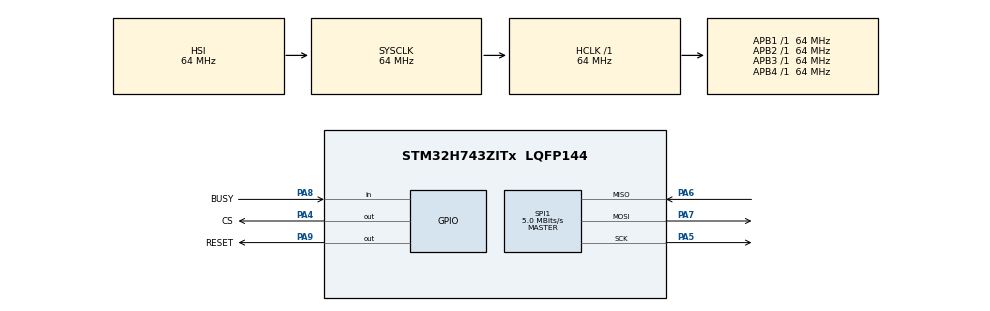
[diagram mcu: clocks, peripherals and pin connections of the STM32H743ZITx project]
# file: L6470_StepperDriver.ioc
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Dma.Request0=SPI1_TX
Dma.Request1=SPI1_RX
Dma.SPI1_RX.1.Direction=DMA_PERIPH_TO_MEMORY
Dma.SPI1_RX.1.EventEnable=DISABLE
Dma.SPI1_RX.1.FIFOMode=DMA_FIFOMODE_DISABLE
Dma.SPI1_RX.1.Instance=DMA1_Stream0
Dma.SPI1_RX.1.MemDataAlignment=DMA_MDATAALIGN_BYTE
Dma.SPI1_RX.1.MemInc=DMA_MINC_ENABLE
Dma.SPI1_RX.1.Mode=DMA_NORMAL
Dma.SPI1_RX.1.PeriphDataAlignment=DMA_PDATAALIGN_BYTE
Dma.SPI1_RX.1.PeriphInc=DMA_PINC_DISABLE
Dma.SPI1_RX.1.Polarity=HAL_DMAMUX_REQ_GEN_RISING
Dma.SPI1_RX.1.Priority=DMA_PRIORITY_HIGH
Dma.SPI1_RX.1.RequestNumber=1
Dma.SPI1_RX.1.SignalID=NONE
Dma.SPI1_RX.1.SyncEnable=DISABLE
Dma.SPI1_RX.1.SyncPolarity=HAL_DMAMUX_SYNC_NO_EVENT
Dma.SPI1_RX.1.SyncRequestNumber=1
Dma.SPI1_RX.1.SyncSignalID=NONE
Dma.SPI1_TX.0.Direction=DMA_MEMORY_TO_PERIPH
Dma.SPI1_TX.0.EventEnable=DISABLE
Dma.SPI1_TX.0.FIFOMode=DMA_FIFOMODE_DISABLE
Dma.SPI1_TX.0.Instance=DMA1_Stream1
Dma.SPI1_TX.0.MemDataAlignment=DMA_MDATAALIGN_BYTE
Dma.SPI1_TX.0.MemInc=DMA_MINC_ENABLE
Dma.SPI1_TX.0.Mode=DMA_NORMAL
Dma.SPI1_TX.0.PeriphDataAlignment=DMA_PDATAALIGN_BYTE
Dma.SPI1_TX.0.PeriphInc=DMA_PINC_DISABLE
Dma.SPI1_TX.0.Polarity=HAL_DMAMUX_REQ_GEN_RISING
Dma.SPI1_TX.0.Priority=DMA_PRIORITY_LOW
Dma.SPI1_TX.0.RequestNumber=1
Dma.SPI1_TX.0.SignalID=NONE
Dma.SPI1_TX.0.SyncEnable=DISABLE
Dma.SPI1_TX.0.SyncPolarity=HAL_DMAMUX_SYNC_NO_EVENT
Dma.SPI1_TX.0.SyncRequestNumber=1
Dma.SPI1_TX.0.SyncSignalID=NONE
Mcu.Family=STM32H7
Mcu.Name=STM32H743ZITx
Mcu.Package=LQFP144
NVIC.DMA1_Stream0_IRQn=true\:0\:0\:false\:false\:true\:false\:true\:true
NVIC.DMA1_Stream1_IRQn=true\:0\:0\:true\:false\:true\:false\:true\:true
NVIC.PriorityGroup=NVIC_PRIORITYGROUP_4
NVIC.SPI1_IRQn=true\:0\:0\:false\:false\:true\:false\:true\:true
PA4.GPIO_Label=CS
PA4.Signal=GPIO_Output
PA5.Mode=Full_Duplex_Master
PA5.Signal=SPI1_SCK
PA6.Mode=Full_Duplex_Master
PA6.Signal=SPI1_MISO
PA7.Mode=Full_Duplex_Master
PA7.Signal=SPI1_MOSI
PA8.GPIO_Label=BUSY
PA8.Signal=GPIO_Input
PA9.GPIO_Label=RESET
PA9.GPIO_ModeDefaultOutputPP=GPIO_MODE_OUTPUT_OD
PA9.GPIO_PuPd=GPIO_NOPULL
PA9.Signal=GPIO_Output
ProjectManager.HeapSize=0x200
ProjectManager.StackSize=0x400
ProjectManager.TargetToolchain=STM32CubeIDE
RCC.ADCFreq_Value=129000000
RCC.APB1Freq_Value=64000000
RCC.APB2Freq_Value=64000000
RCC.APB3Freq_Value=64000000
RCC.APB4Freq_Value=64000000
RCC.CortexFreq_Value=64000000
RCC.DIVM1=4
RCC.DIVN1=10
RCC.HCLKFreq_Value=64000000
RCC.PLLFRACN=0
RCC.SYSCLKFreq_VALUE=64000000
RCC.USBFreq_Value=80000000
SPI1.BaudRatePrescaler=SPI_BAUDRATEPRESCALER_16
SPI1.CalculateBaudRate=5.0 MBits/s
SPI1.DataSize=SPI_DATASIZE_8BIT
SPI1.Direction=SPI_DIRECTION_2LINES
SPI1.Mode=SPI_MODE_MASTER
SPI1.VirtualType=VM_MASTER
VP_MEMORYMAP_VS_MEMORYMAP.Mode=CurAppReg
board=custom

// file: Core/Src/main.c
/* USER CODE BEGIN Header */
/**
  ******************************************************************************
  * @file           : main.c
  * @brief          : Main program body
  ******************************************************************************
  * @attention
  *
  * Copyright (c) 2025 STMicroelectronics.
  * All rights reserved.
  *
  * This software is licensed under terms that can be found in the LICENSE file
  * in the root directory of this software component.
  * If no LICENSE file comes with this software, it is provided AS-IS.
  *
  ******************************************************************************
  */
/* USER CODE END Header */
#include "main.h"

/* USER CODE BEGIN Includes */
#include <stdlib.h>
#include "l6470_driver.h"
/* USER CODE END Includes */

SPI_HandleTypeDef hspi1;
DMA_HandleTypeDef hdma_spi1_tx;
DMA_HandleTypeDef hdma_spi1_rx;

/* USER CODE BEGIN PV */
L6470_Handle_t hstepper;
L6470_Config_t stepper_config;
/* USER CODE END PV */

void SystemClock_Config(void);
static void MX_GPIO_Init(void);
static void MX_DMA_Init(void);
static void MX_SPI1_Init(void);

/* USER CODE BEGIN 0 */
L6470_Status_t L6470_PreciseMove(L6470_Handle_t *hmotor, uint32_t target_position, uint32_t timeout_ms, uint32_t tolerance, bool with_DMA);
/* USER CODE END 0 */

int main(void)
{

  /* MCU Configuration--------------------------------------------------------*/

  /* Reset of all peripherals, Initializes the Flash interface and the Systick. */
  HAL_Init();

  /* Configure the system clock */
  SystemClock_Config();

  /* Initialize all configured peripherals */
  MX_GPIO_Init();
  MX_DMA_Init();
  MX_SPI1_Init();
  /* USER CODE BEGIN 2 */

  // Configuration of L6470 driver
  stepper_config.hspi = &hspi1;
  stepper_config.cs_port = CS_GPIO_Port;
  stepper_config.cs_pin = CS_Pin;
  stepper_config.reset_port = RESET_GPIO_Port;
  stepper_config.reset_pin = RESET_Pin;
  stepper_config.busy_port = BUSY_GPIO_Port;
  stepper_config.busy_pin = BUSY_Pin;

  /*********************************************
   *     		CONFIGURATION PARAMETERS
   *********************************************/
  uint32_t t_position = 1600;
  uint32_t timeout = 1500;
  uint32_t tolerance = 5;
  L6470_Status_t status_move;
  bool with_DMA = false;
  uint32_t value_DMA = 0;

  // Initialization function for the driver
  if (L6470_Init(&hstepper, &stepper_config, with_DMA) != L6470_OK)
  {
    // Error Handler for initialization
    Error_Handler();
  }

  /* USER CODE END 2 */

  /* Infinite loop */
  /* USER CODE BEGIN WHILE */
  while (1)
  {

    //Reset to default position
    L6470_ResetPosition(&hstepper, with_DMA);
    HAL_Delay(1500); // Wait for motor movement completion

    status_move = L6470_PreciseMove(&hstepper, t_position, timeout, tolerance, with_DMA);

		if(status_move == L6470_TIMEOUT)
		{
			// Error Handler for PreciseMove in case of timeout
			Error_Handler();
		}

  	if(with_DMA)
  	{
      // Get status
  		L6470_GetParam_DMA(&hstepper, L6470_STATUS, &value_DMA);
  		//TODO: Check status and log a failure in case of error
  	}

		HAL_Delay(5000);

    /* USER CODE END WHILE */

  }
}

void SystemClock_Config(void)
{
  RCC_OscInitTypeDef RCC_OscInitStruct = {0};
  RCC_ClkInitTypeDef RCC_ClkInitStruct = {0};

  /** Supply configuration update enable
  */
  HAL_PWREx_ConfigSupply(PWR_LDO_SUPPLY);

  /** Configure the main internal regulator output voltage
  */
  __HAL_PWR_VOLTAGESCALING_CONFIG(PWR_REGULATOR_VOLTAGE_SCALE3);

  while(!__HAL_PWR_GET_FLAG(PWR_FLAG_VOSRDY)) {}

  /** Initializes the RCC Oscillators according to the specified parameters
  * in the RCC_OscInitTypeDef structure.
  */
  RCC_OscInitStruct.OscillatorType = RCC_OSCILLATORTYPE_HSI;
  RCC_OscInitStruct.HSIState = RCC_HSI_DIV1;
  RCC_OscInitStruct.HSICalibrationValue = RCC_HSICALIBRATION_DEFAULT;
  RCC_OscInitStruct.PLL.PLLState = RCC_PLL_ON;
  RCC_OscInitStruct.PLL.PLLSource = RCC_PLLSOURCE_HSI;
  RCC_OscInitStruct.PLL.PLLM = 4;
  RCC_OscInitStruct.PLL.PLLN = 10;
  RCC_OscInitStruct.PLL.PLLP = 2;
  RCC_OscInitStruct.PLL.PLLQ = 2;
  RCC_OscInitStruct.PLL.PLLR = 2;
  RCC_OscInitStruct.PLL.PLLRGE = RCC_PLL1VCIRANGE_3;
  RCC_OscInitStruct.PLL.PLLVCOSEL = RCC_PLL1VCOMEDIUM;
  RCC_OscInitStruct.PLL.PLLFRACN = 0;
  if (HAL_RCC_OscConfig(&RCC_OscInitStruct) != HAL_OK)
  {
    Error_Handler();
  }

  /** Initializes the CPU, AHB and APB buses clocks
  */
  RCC_ClkInitStruct.ClockType = RCC_CLOCKTYPE_HCLK|RCC_CLOCKTYPE_SYSCLK
                              |RCC_CLOCKTYPE_PCLK1|RCC_CLOCKTYPE_PCLK2
                              |RCC_CLOCKTYPE_D3PCLK1|RCC_CLOCKTYPE_D1PCLK1;
  RCC_ClkInitStruct.SYSCLKSource = RCC_SYSCLKSOURCE_HSI;
  RCC_ClkInitStruct.SYSCLKDivider = RCC_SYSCLK_DIV1;
  RCC_ClkInitStruct.AHBCLKDivider = RCC_HCLK_DIV1;
  RCC_ClkInitStruct.APB3CLKDivider = RCC_APB3_DIV1;
  RCC_ClkInitStruct.APB1CLKDivider = RCC_APB1_DIV1;
  RCC_ClkInitStruct.APB2CLKDivider = RCC_APB2_DIV1;
  RCC_ClkInitStruct.APB4CLKDivider = RCC_APB4_DIV1;

  if (HAL_RCC_ClockConfig(&RCC_ClkInitStruct, FLASH_LATENCY_1) != HAL_OK)
  {
    Error_Handler();
  }
}

static void MX_SPI1_Init(void)
{

  /* SPI1 parameter configuration*/
  hspi1.Instance = SPI1;
  hspi1.Init.Mode = SPI_MODE_MASTER;
  hspi1.Init.Direction = SPI_DIRECTION_2LINES;
  hspi1.Init.DataSize = SPI_DATASIZE_8BIT;
  hspi1.Init.CLKPolarity = SPI_POLARITY_LOW;
  hspi1.Init.CLKPhase = SPI_PHASE_1EDGE;
  hspi1.Init.NSS = SPI_NSS_SOFT;
  hspi1.Init.BaudRatePrescaler = SPI_BAUDRATEPRESCALER_16;
  hspi1.Init.FirstBit = SPI_FIRSTBIT_MSB;
  hspi1.Init.TIMode = SPI_TIMODE_DISABLE;
  hspi1.Init.CRCCalculation = SPI_CRCCALCULATION_DISABLE;
  hspi1.Init.CRCPolynomial = 0x0;
  hspi1.Init.NSSPMode = SPI_NSS_PULSE_ENABLE;
  hspi1.Init.NSSPolarity = SPI_NSS_POLARITY_LOW;
  hspi1.Init.FifoThreshold = SPI_FIFO_THRESHOLD_01DATA;
  hspi1.Init.TxCRCInitializationPattern = SPI_CRC_INITIALIZATION_ALL_ZERO_PATTERN;
  hspi1.Init.RxCRCInitializationPattern = SPI_CRC_INITIALIZATION_ALL_ZERO_PATTERN;
  hspi1.Init.MasterSSIdleness = SPI_MASTER_SS_IDLENESS_00CYCLE;
  hspi1.Init.MasterInterDataIdleness = SPI_MASTER_INTERDATA_IDLENESS_00CYCLE;
  hspi1.Init.MasterReceiverAutoSusp = SPI_MASTER_RX_AUTOSUSP_DISABLE;
  hspi1.Init.MasterKeepIOState = SPI_MASTER_KEEP_IO_STATE_DISABLE;
  hspi1.Init.IOSwap = SPI_IO_SWAP_DISABLE;
  if (HAL_SPI_Init(&hspi1) != HAL_OK)
  {
    Error_Handler();
  }

}

static void MX_DMA_Init(void)
{
  /* DMA controller clock enable */
  __HAL_RCC_DMA1_CLK_ENABLE();

  /* DMA interrupt init */
  /* DMA1_Stream0_IRQn interrupt configuration */
  HAL_NVIC_SetPriority(DMA1_Stream0_IRQn, 0, 0);
  HAL_NVIC_EnableIRQ(DMA1_Stream0_IRQn);
  /* DMA1_Stream1_IRQn interrupt configuration */
  HAL_NVIC_SetPriority(DMA1_Stream1_IRQn, 0, 0);
  HAL_NVIC_EnableIRQ(DMA1_Stream1_IRQn);
}

/**
  * DMA TX/RX Callback Override
  */
void HAL_SPI_TxRxCpltCallback(SPI_HandleTypeDef *hspi)
{
    if (hspi->Instance == SPI1)
    {
    	hstepper.config.transfer_complete = true;
    }
}

void HAL_SPI_ErrorCallback(SPI_HandleTypeDef *hspi)
{
    if (hspi->Instance == SPI1)
    {
    	hstepper.config.transfer_error = true;
    }
}

static void MX_GPIO_Init(void)
{
  GPIO_InitTypeDef GPIO_InitStruct = {0};

  /* GPIO Ports Clock Enable */
  __HAL_RCC_GPIOA_CLK_ENABLE();

  /*Configure GPIO pin Output Level */
  HAL_GPIO_WritePin(GPIOA, CS_Pin|RESET_Pin, GPIO_PIN_RESET);

  /*Configure GPIO pin : CS_Pin */
  GPIO_InitStruct.Pin = CS_Pin;
  GPIO_InitStruct.Mode = GPIO_MODE_OUTPUT_PP;
  GPIO_InitStruct.Pull = GPIO_NOPULL;
  GPIO_InitStruct.Speed = GPIO_SPEED_FREQ_LOW;
  HAL_GPIO_Init(CS_GPIO_Port, &GPIO_InitStruct);

  /*Configure GPIO pin : BUSY_Pin */
  GPIO_InitStruct.Pin = BUSY_Pin;
  GPIO_InitStruct.Mode = GPIO_MODE_INPUT;
  GPIO_InitStruct.Pull = GPIO_NOPULL;
  HAL_GPIO_Init(BUSY_GPIO_Port, &GPIO_InitStruct);

  /*Configure GPIO pin : RESET_Pin */
  GPIO_InitStruct.Pin = RESET_Pin;
  GPIO_InitStruct.Mode = GPIO_MODE_OUTPUT_OD;
  GPIO_InitStruct.Pull = GPIO_NOPULL;
  GPIO_InitStruct.Speed = GPIO_SPEED_FREQ_LOW;
  HAL_GPIO_Init(RESET_GPIO_Port, &GPIO_InitStruct);

}

/* USER CODE BEGIN 4 */

/**
 * @brief Function for precise movement (with error handler)
 */
L6470_Status_t L6470_PreciseMove(L6470_Handle_t *hmotor, uint32_t target_position, uint32_t timeout_ms, uint32_t tolerance, bool with_DMA)
{
  uint32_t current_pos;
  uint32_t start_time = HAL_GetTick();

  // Wait for completion with timeout
  if(L6470_WaitWhileBusy(hmotor, timeout_ms) == L6470_TIMEOUT)
  {
  	return L6470_TIMEOUT;
  }

	// Perform the movement (sending command either with or without DMA)
  if(with_DMA)
  {
    L6470_SendCommand_Data_DMA(hmotor, L6470_GOTO, target_position);
  }
  else
  {
		L6470_GoTo(hmotor, target_position);
  }

  // Final position check
  current_pos = L6470_GetPosition(hmotor);
  while (abs(current_pos - target_position) > tolerance && (HAL_GetTick() - start_time) <= timeout_ms)
  { // Tolerance of 5 microstep

  	// Perform the movement (sending command either with or without DMA)
  	if(with_DMA)
  	{
      L6470_SendCommand_Data_DMA(hmotor, L6470_GOTO, target_position);
  	}
  	else
  	{
  		L6470_GoTo(hmotor, target_position);
  	}
  	// I will try to correct by recalculating the position
  	current_pos = L6470_GetPosition(hmotor);
  }
  // Checking whether you have exited the cycle for a timeout (the position is not yet correct)
	if ((HAL_GetTick() - start_time) > timeout_ms)
	{
		return L6470_TIMEOUT;
  }

  return L6470_OK;
}
/* USER CODE END 4 */

void Error_Handler(void)
{
  __disable_irq();
  while (1)
  {
  }
}
